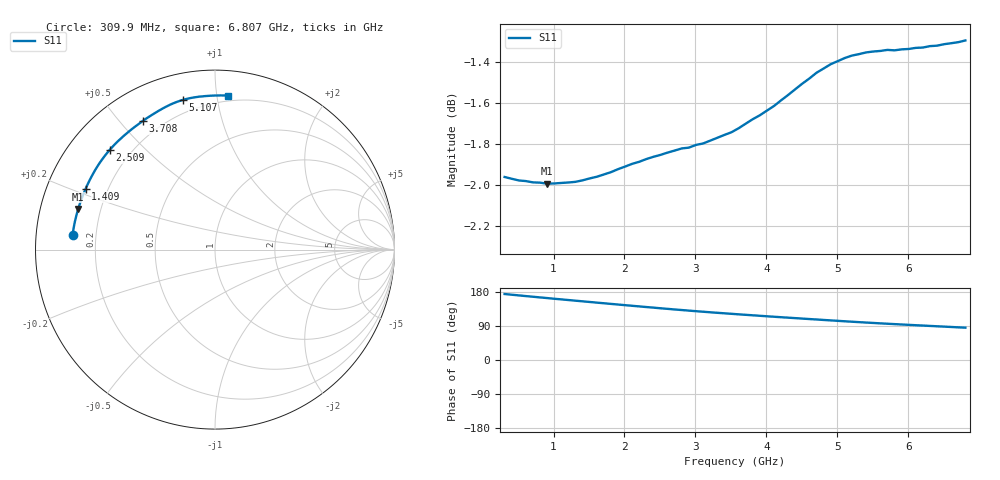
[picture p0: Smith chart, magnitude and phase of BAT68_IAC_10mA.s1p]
! Infineon Technologies  Discrete & RF Semiconductors
! BAT68
! IAC = 10 mA
! One-Port S-Parameters
# Hz  S  MA  R  50
!f  S11
!Hz  Mag  Ang
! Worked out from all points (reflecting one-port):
!   66 points, 309.9 MHz to 6.807 GHz, reference 50 ohm
!   lowest |S11| = -2.0 dB at 909.5 MHz (marker M1), VSWR 8.75, Z = 5.83 + j7.18 ohm
!   phase of S11 starts at 174 deg and turns -89 deg over the sweep
!   S11 on the Smith chart (normalised r, x): 309.9 MHz: 0.11, +0.05; 1.409 GHz: 0.12, +0.22; 2.509 GHz: 0.12, +0.39; 3.708 GHz: 0.13, +0.58; 5.107 GHz: 0.13, +0.80; 6.807 GHz: 0.16, +1.07
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3.0985e8  0.7979 174.1
6.097e8  0.7961 168.7
9.0955e8  0.7949 163.4
1.0095e9  0.795 161.6
1.2094e9  0.7955 158.2
1.4093e9  0.7964 154.8
1.70915e9  0.799 149.7
2.009e9  0.8026 144.7
2.2089e9  0.8047 141.4
2.30885e9  0.806 139.7
2.50875e9  0.8079 136.5
2.70865e9  0.8098 133.3
2.8086e9  0.8108 131.8
3.0085e9  0.8124 128.8
3.2084e9  0.8143 126.0
3.6082e9  0.82 120.5
3.70815e9  0.8221 119.2
4.008e9  0.8281 115.4
4.4078e9  0.8381 110.5
4.70765e9  0.8459 106.9
4.90755e9  0.8499 104.5
5.10745e9  0.8529 102.1
5.2074e9  0.854 101.0
5.4073e9  0.8555 98.8
5.6072e9  0.8562 96.7
6.007e9  0.8572 92.8
6.30685e9  0.8586 89.9
6.8066e9  0.8613 85.3
